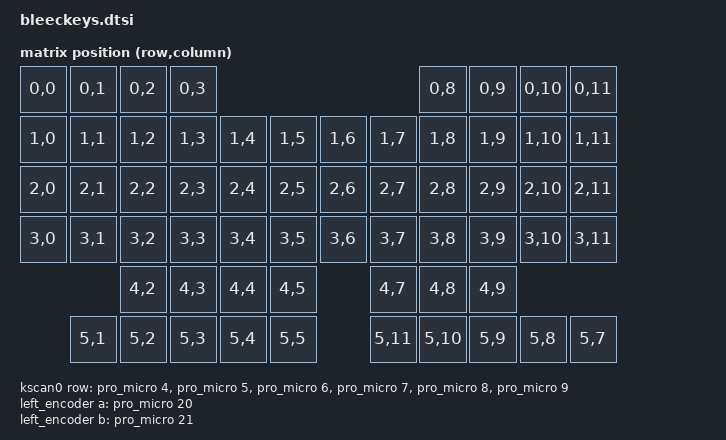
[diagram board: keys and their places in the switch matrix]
#include <dt-bindings/zmk/matrix_transform.h> // Put this with the other includes at the top of your dtsi
#include "bleeckeys-layouts.dtsi" 
#include <dt-bindings/zmk/input_transform.h>
// to use gestures this is always necessary:
#include <behaviors/input_processor_gestures.dtsi>

// to translate absolute positions to relative positions. If you don't
// want to use gestures for absolute mode, and you don't want to activate it,
// you can ignore this line
// &zip_xy_transform (INPUT_TRANSFORM_Y_INVERT)


#include <behaviors/input_processor_absolute_to_relative.dtsi>


/ {
    chosen {
        zephyr,display = &oled;
        zmk,physical-layout = &physical_layout0;
        // Other chosen items
    };

    kscan0: kscan0 {
        compatible = "zmk,kscan-gpio-matrix";
        diode-direction = "col2row";
        wakeup-source;

        row-gpios
            = <&pro_micro 4 (GPIO_ACTIVE_HIGH | GPIO_PULL_DOWN)>
            , <&pro_micro 5 (GPIO_ACTIVE_HIGH | GPIO_PULL_DOWN)>
            , <&pro_micro 6 (GPIO_ACTIVE_HIGH | GPIO_PULL_DOWN)>
            , <&pro_micro 7 (GPIO_ACTIVE_HIGH | GPIO_PULL_DOWN)>
            , <&pro_micro 8 (GPIO_ACTIVE_HIGH | GPIO_PULL_DOWN)>
            , <&pro_micro 9 (GPIO_ACTIVE_HIGH | GPIO_PULL_DOWN)>
            ;

    };

    default_transform: keymap_transform0 {
        compatible = "zmk,matrix-transform";
        columns = <12>;
        rows = <6>;
        map = <
RC(0,0) RC(0,1) RC(0,2) RC(0,3)                                        RC(0,8) RC(0,9) RC(0,10) RC(0,11)
RC(1,0) RC(1,1) RC(1,2) RC(1,3) RC(1,4) RC(1,5)        RC(1,6) RC(1,7) RC(1,8) RC(1,9) RC(1,10) RC(1,11)
RC(2,0) RC(2,1) RC(2,2) RC(2,3) RC(2,4) RC(2,5)        RC(2,6) RC(2,7) RC(2,8) RC(2,9) RC(2,10) RC(2,11)
RC(3,0) RC(3,1) RC(3,2) RC(3,3) RC(3,4) RC(3,5)        RC(3,6) RC(3,7) RC(3,8) RC(3,9) RC(3,10) RC(3,11)
                RC(4,2) RC(4,3) RC(4,4) RC(4,5)                RC(4,7) RC(4,8) RC(4,9) 
        RC(5,1) RC(5,2) RC(5,3) RC(5,4) RC(5,5)                RC(5,11) RC(5,10) RC(5,9) RC(5,8) RC(5,7)
      >;
    };


    left_encoder: encoder_left {
        compatible = "alps,ec11";
        a-gpios = <&pro_micro 20 (GPIO_ACTIVE_HIGH | GPIO_PULL_UP)>;
        b-gpios = <&pro_micro 21 (GPIO_ACTIVE_HIGH | GPIO_PULL_UP)>;
        steps = <30>;
        status = "okay";
    };

    sensors {
        compatible = "zmk,keymap-sensors";
        sensors = <&left_encoder>;
        triggers-per-rotation = <30>;
    };
    
/*    split_inputs {
        #address-cells = <1>;
        #size-cells = <0>;

        glidepoint_split: glidepoint_split@0 {
            compatible = "zmk,input-split";
            reg = <0>;
        };
    };

    glidepoint_listener: glidepoint_listener {
        compatible = "zmk,input-listener";
        status = "disabled";
        device = <&glidepoint_split>;
    };
*/
};

&pro_micro_i2c {
    status = "okay";

    oled: ssd1306@3c {
        compatible = "solomon,ssd1306fb";
        reg = <0x3c>;
        width = <128>;
        height = <32>;
        segment-offset = <0>;
        page-offset = <0>;
        display-offset = <0>;
        multiplex-ratio = <31>;
        segment-remap;
        com-invdir;
        com-sequential;
        inversion-on;
        prechargep = <0x22>;
    };
};

//&zip_gestures {
//    tap-detection;
//    prevent_movement_during_tap;
//    //inertial-cursor;
//    //circular-scroll;
//    //circular-scroll-rim-percent=<15>;
//};

/ {
    split_inputs {
        #address-cells = <1>;
        #size-cells = <0>;

        glidepoint_split: glidepoint_split@0 {
            compatible = "zmk,input-split";
            reg = <0>;
        };
    };

    glidepoint_listener: glidepoint_listener {
        compatible = "zmk,input-listener";
        status = "disabled";
        device = <&glidepoint_split>;
        input-processors = <
            // &zip_gestures
            &zip_absolute_to_relative
            &zip_scroll_scaler 4 2
            >;
//        scroller {
//            layers = <5>;
//            input-processors = <
//                &zip_xy_scaler 1 20
//                &zip_xy_to_scroll_mapper
//            >;
//        };
    };
};

//                &zip_xy_transform (INPUT_TRANSFORM_XY_SWAP | INPUT_TRANSFORM_X_INVERT)
